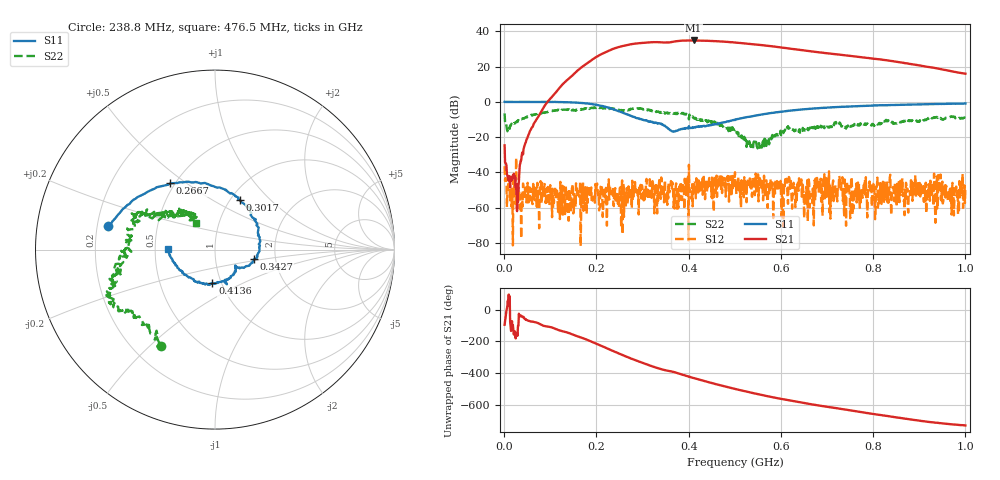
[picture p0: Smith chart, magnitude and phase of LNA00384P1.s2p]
! Created with skrf 1.9.0 (http://scikit-rf.org).
# Hz S RI R 50.0
!freq ReS11 ImS11 ReS21 ImS21 ReS12 ImS12 ReS22 ImS22
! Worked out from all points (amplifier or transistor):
!   1001 points, 1 MHz to 1 GHz, reference 50 ohm
!   highest |S21| = 34.9 dB at 410.6 MHz (marker M1)
!   |S21| within 3 dB of that: 260 MHz to 570.6 MHz (310.6 MHz wide, 74.8 % of centre)
!   unconditionally stable (mu >= 1): 4.552 MHz to 72.64 MHz; 198 MHz to 400.4 MHz; 400.9 MHz to end of sweep (the widest 3 of 28)
!   at 166.8 MHz: K = 8.60, MAG = 30.2 dB, |S12| = -65.7 dB
!   at 500.5 MHz: K = 1.19, MAG = 34.2 dB, |S12| = -39.9 dB
!   at 1 GHz: K = 3.44, MAG = 24.3 dB, |S12| = -49.2 dB
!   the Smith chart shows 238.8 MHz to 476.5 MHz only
!   S11 on the Smith chart (normalised r, x): 238.8 MHz: 0.25, +0.10; 266.7 MHz: 0.47, +0.44; 301.7 MHz: 1.10, +0.67; 342.7 MHz: 1.54, -0.17; 413.6 MHz: 0.91, -0.35; 476.5 MHz: 0.58, +0.00
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1000000  1.002 0.0133  -0.00515 -0.0583  0.000921 0.015  0.3329 0.3352
1.08892e8  0.5052 -0.8561  -0.7892 -1.477  -0.00208 -0.000882  0.4347 -0.3599
1.67833e8  -0.2644 -0.8922  -9.589 -0.575  0.00302 0.000278  0.0478 -0.6306
2.08792e8  -0.6871 -0.3694  -15.3 15.67  -0.000163 -0.00391  -0.2006 -0.6483
2.38762e8  -0.5939 0.1342  -3.256 32.59  -0.00267 0.00248  -0.2992 -0.5355
2.66734e8  -0.2491 0.3693  19.94 36  -0.000523 0.00302  -0.4413 -0.3812
2.83717e8  -0.0375 0.3642  33.43 30.23  -0.00532 0.00028  -0.5868 -0.2995
3.01699e8  0.1375 0.2767  44.02 17.66  -0.00268 -0.000555  -0.5897 -0.2143
3.34666e8  0.2476 0.00916  48.5 -9.226  -0.00387 0.000101  -0.5298 -0.0345
3.42658e8  0.2173 -0.052  46.5 -14.99  0.000376 -0.00298  -0.5228 -0.00681
3.76624e8  0.1182 -0.1027  39.92 -35.05  -0.00311 0.00257  -0.4653 0.1625
4.1059e8  -0.00208 -0.1878  17.07 -52.6  0.00385 0.0033  -0.3136 0.1639
4.13587e8  -0.0142 -0.1877  14.82 -53  0.00136 0.00263  -0.2921 0.2032
4.43557e8  -0.16 -0.1409  -7.944 -53.15  0.00475 0.00208  -0.2006 0.2159
4.76524e8  -0.2624 0.00189  -28.23 -42.56  0.00493 0.000191  -0.1032 0.1456
5.005e8  -0.2725 0.1384  -37.64 -30.66  0.00137 -0.01  -0.1202 0.1139
5.4046e8  -0.1953 0.3463  -42.07 -9.367  0.00657 -0.00313  -0.0375 0.0554
5.88412e8  0.018 0.5035  -35.06 10.87  0.0027 -0.00563  -0.0964 -0.0661
6.67333e8  0.4032 0.5002  -13.92 22.94  -0.00118 -0.002  -0.1897 -0.0308
7.55245e8  0.694 0.2803  2.92 19.6  0.000512 0.000365  -0.2129 0.0227
8.34166e8  0.8086 0.0129  10.25 10.72  -0.00118 -0.00119  -0.2788 -0.0243
1e9  0.7266 -0.5328  6.17 -1.305  -0.00151 0.00313  -0.2914 0.2027
